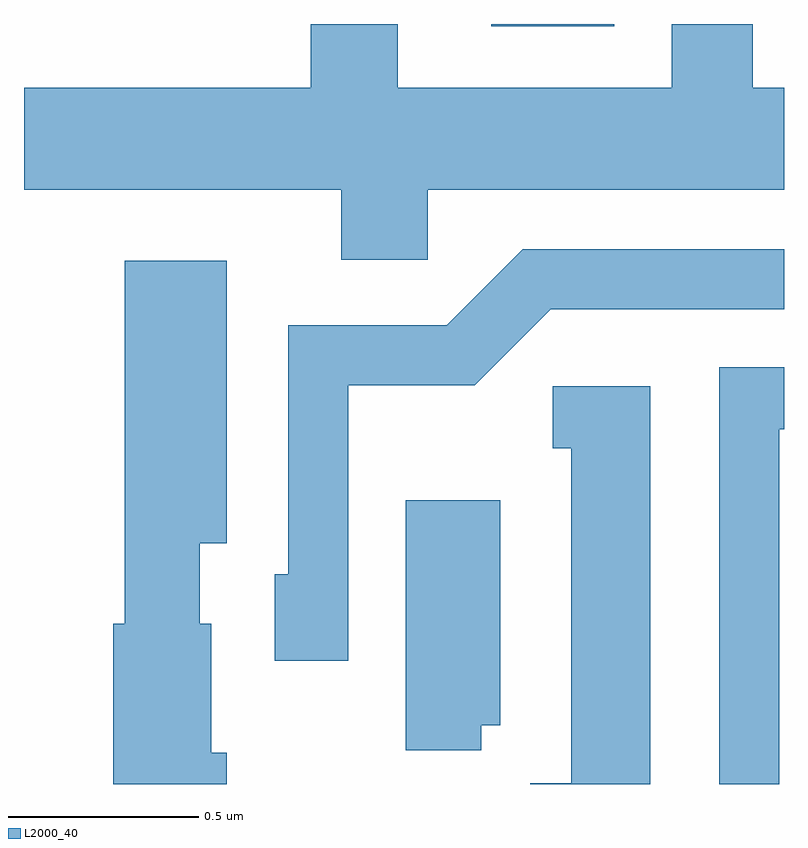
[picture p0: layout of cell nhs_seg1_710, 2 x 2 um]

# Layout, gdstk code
import gdstk
lib = gdstk.Library(unit=1e-6, precision=1e-09)
def R(c, l, rs):  # rectangles x0, y0, x1, y1
    for r in rs: c.add(gdstk.rectangle(r[:2], r[2:], *l))
def P(c, l, *ps):  # polygons
    for p in ps: c.add(gdstk.Polygon(p, *l))
L2000_40 = (2000, 40)

nhs_seg1_710 = lib.new_cell('nhs_seg1_710')
R(nhs_seg1_710, L2000_40, [(191.841,866.706,192.164,866.712)])
P(nhs_seg1_710, L2000_40, [(191.674,866.276),(192.611,866.276),(192.611,866.544),(192.529,866.544),(192.529,866.712),(192.316,866.712),(192.316,866.544),(191.594,866.544),(191.594,866.712),(191.366,866.712),(191.366,866.544),(190.611,866.544),(190.611,866.276),(191.446,866.276),(191.446,866.091),(191.674,866.091)],
  [(191.464,865.761),(191.797,865.761),(191.997,865.961),(192.611,865.961),(192.611,866.119),(191.924,866.119),(191.724,865.919),(191.306,865.919),(191.306,865.264),(191.271,865.264),(191.271,865.036),(191.464,865.036)],
  [(191.144,864.794),(191.104,864.794),(191.104,865.134),(191.074,865.134),(191.074,865.346),(191.144,865.346),(191.144,866.089),(190.876,866.089),(190.876,865.134),(190.846,865.134),(190.846,864.712),(191.144,864.712)],
  [(192.599,865.646),(192.611,865.646),(192.611,865.809),(192.441,865.809),(192.441,864.712),(192.599,864.712)],
  [(192.259,865.759),(192.003,865.759),(192.003,865.596),(192.051,865.596),(192.051,864.714),(191.943,864.714),(191.943,864.712),(192.259,864.712)],
  [(191.814,864.866),(191.864,864.866),(191.864,865.459),(191.616,865.459),(191.616,864.801),(191.814,864.801)])

lib.write_gds('nhs_seg1_710.gds')
